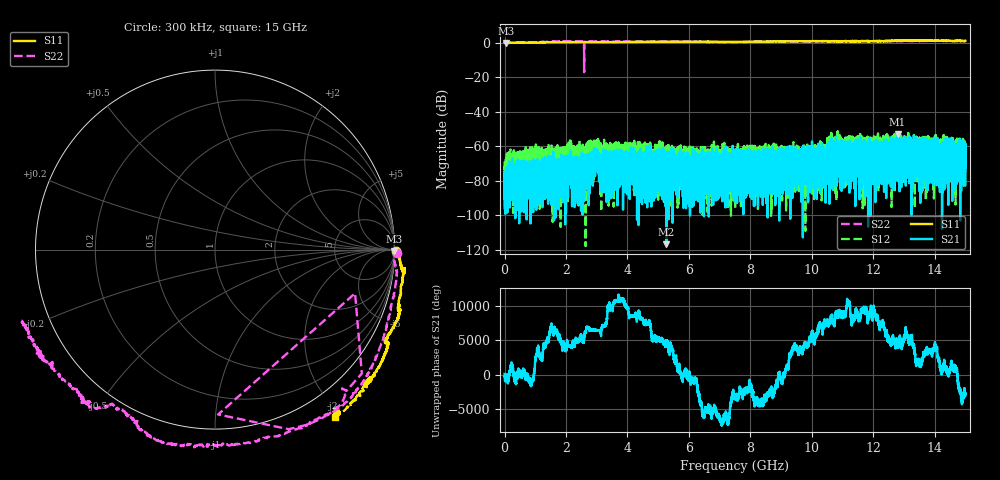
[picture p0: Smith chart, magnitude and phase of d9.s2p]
!Agilent Technologies,N5230C,SG49000117,A.08.50.07
!Agilent N5230C: A.08.50.07
!Date: Friday, May 17, 2024 07:59:05
!Correction: S11(Full 2 Port(1,2))
!S21(Full 2 Port(1,2))
!S12(Full 2 Port(1,2))
!S22(Full 2 Port(1,2))
!S2P File: Measurements: S11, S21, S12, S22:
# Hz S  MA  R 50
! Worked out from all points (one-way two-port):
!   20001 points, 300 kHz to 15 GHz, reference 50 ohm
!   highest |S21| = -53.01 dB at 12.79 GHz (marker M1); lowest = -116.7 dB at 5.27 GHz (marker M2)
!   lowest |S11| = 0.0 dB at 43.05 MHz (marker M3)
!   |S11| at or under -10 dB: nowhere
!   |S22| runs from -17.0 to 1.3 dB; largest |S21 - S12| = 0.0036
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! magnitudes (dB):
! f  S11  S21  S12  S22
! 300 kHz  0.1  -86.1  -68.8  0.1
! 43.05 MHz  0.0  -86.0  -71.7  0.0
! 1.954 GHz  0.5  -68.7  -82.0  0.9
! 2.102 GHz  0.5  -74.7  -69.8  1.0
! 2.253 GHz  0.5  -86.7  -66.2  1.0
! 2.501 GHz  0.5  -81.0  -65.4  1.0
! 2.993 GHz  0.5  -67.2  -59.2  0.8
! 3.139 GHz  0.5  -68.6  -63.8  0.8
! 3.419 GHz  0.5  -76.2  -63.7  0.8
! 4.004 GHz  0.5  -70.4  -63.8  0.8
! 4.154 GHz  0.6  -65.4  -62.9  0.7
! 4.315 GHz  0.6  -73.1  -68.9  0.8
! 5 GHz  0.7  -72.5  -65.6  0.8
! 5.27 GHz  0.7  -116.7  -64.4  0.9
! 7.5 GHz  0.7  -66.1  -66.7  0.3
! 10 GHz  1.0  -65.8  -63.6  0.9
! 10.42 GHz  1.1  -72.8  -63.7  0.9
! 10.88 GHz  1.0  -62.7  -58.5  1.0
! 11.69 GHz  1.0  -64.7  -82.3  1.1
! 12.5 GHz  1.2  -60.2  -64.6  1.1
! 12.79 GHz  1.2  -53.0  -60.4  1.1
! 15 GHz  1.2  -63.6  -66.0  1.3
